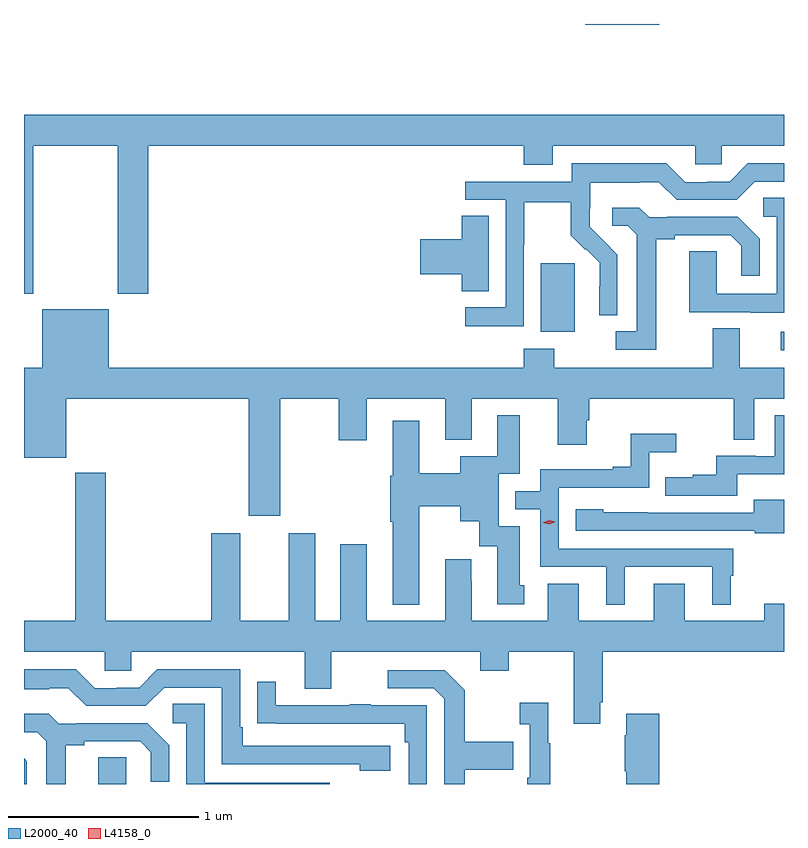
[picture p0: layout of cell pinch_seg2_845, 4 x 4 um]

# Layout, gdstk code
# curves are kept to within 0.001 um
import gdstk
lib = gdstk.Library(unit=1e-6, precision=1e-09)
def R(c, l, rs):  # rectangles x0, y0, x1, y1
    for r in rs: c.add(gdstk.rectangle(r[:2], r[2:], *l))
def P(c, l, *ps):  # polygons
    for p in ps: c.add(gdstk.Polygon(p, *l))
L2000_40 = (2000, 40)
L4158_0 = (4158, 0)

pinch_seg2_845 = lib.new_cell('pinch_seg2_845')
R(pinch_seg2_845, L2000_40, [(601.667,604.317,601.812,604.457), (605.259,606.6,605.275,606.696), (603.995,606.698,604.174,607.059), (604.23,608.314,604.618,608.317)])
P(pinch_seg2_845, L2000_40, [(601.323,607.676),(601.768,607.676),(601.768,606.897),(601.928,606.897),(601.928,607.676),(603.905,607.676),(603.905,607.577),(604.057,607.577),(604.057,607.676),(604.809,607.676),(604.809,607.578),(604.947,607.578),(604.947,607.676),(605.275,607.676),(605.275,607.84),(601.275,607.84),(601.275,606.897),(601.323,606.897)],
  [(603.906,607.156),(603.909,607.156),(603.909,607.38),(604.153,607.38),(604.153,607.205),(604.23,607.128),(604.233,607.131),(604.304,607.061),(604.304,606.938),(604.302,606.938),(604.302,606.784),(604.398,606.784),(604.398,607.102),(604.252,607.25),(604.252,607.347),(604.254,607.347),(604.254,607.481),(604.517,607.481),(604.517,607.485),(604.617,607.485),(604.71,607.392),(605.025,607.392),(605.121,607.488),(605.275,607.488),(605.275,607.584),(605.085,607.584),(604.989,607.488),(604.871,607.488),(604.871,607.485),(604.755,607.485),(604.655,607.585),(604.158,607.585),(604.158,607.488),(603.597,607.488),(603.597,607.392),(603.81,607.392),(603.81,606.825),(603.597,606.825),(603.597,606.727),(603.906,606.727)],
  [(605.275,607.403),(605.166,607.403),(605.166,607.302),(605.238,607.302),(605.238,606.897),(604.92,606.897),(604.92,607.121),(604.775,607.121),(604.775,606.801),(605.099,606.801),(605.099,606.797),(605.275,606.797)],
  [(604.603,607.184),(604.699,607.184),(604.699,607.206),(604.994,607.206),(605.051,607.149),(605.051,606.993),(605.148,606.993),(605.148,607.186),(605.032,607.302),(604.66,607.302),(604.66,607.299),(604.566,607.299),(604.514,607.351),(604.371,607.351),(604.371,607.254),(604.452,607.254),(604.499,607.207),(604.499,606.699),(604.389,606.699),(604.389,606.603),(604.603,606.603)],
  [(603.721,607.307),(603.578,607.307),(603.578,607.184),(603.36,607.184),(603.36,607.001),(603.578,607.001),(603.578,606.91),(603.721,606.91)],
  [(602.623,606.344),(602.932,606.344),(602.932,606.126),(603.079,606.126),(603.079,606.344),(603.491,606.344),(603.491,606.128),(603.631,606.128),(603.631,606.344),(604.085,606.344),(604.085,606.102),(604.237,606.102),(604.237,606.231),(604.25,606.231),(604.25,606.344),(605.01,606.344),(605.01,606.13),(605.118,606.13),(605.118,606.344),(605.275,606.344),(605.275,606.508),(605.041,606.508),(605.041,606.716),(604.901,606.716),(604.901,606.508),(604.065,606.508),(604.065,606.607),(603.905,606.607),(603.905,606.508),(601.72,606.508),(601.72,606.817),(601.37,606.817),(601.37,606.508),(601.275,606.508),(601.275,606.035),(601.498,606.035),(601.498,606.344),(602.459,606.344),(602.459,605.73),(602.623,605.73)],
  [(605.029,605.948),(605.275,605.948),(605.275,606.259),(605.226,606.259),(605.226,606.042),(605.126,606.042),(605.126,606.045),(604.919,606.045),(604.919,605.944),(604.795,605.944),(604.795,605.932),(604.651,605.932),(604.651,605.835),(605.029,605.835)],
  [(603.355,605.78),(603.572,605.78),(603.572,605.699),(603.671,605.699),(603.671,605.568),(603.767,605.568),(603.767,605.262),(603.907,605.262),(603.907,605.364),(603.883,605.364),(603.883,605.673),(603.774,605.673),(603.774,605.949),(603.883,605.949),(603.883,606.259),(603.767,606.259),(603.767,606.043),(603.572,606.043),(603.572,605.952),(603.355,605.952),(603.355,606.229),(603.215,606.229),(603.215,605.94),(603.203,605.94),(603.203,605.696),(603.215,605.696),(603.215,605.261),(603.355,605.261)],
  [(604.438,605.46),(604.898,605.46),(604.898,605.261),(604.996,605.261),(604.996,605.412),(605.008,605.412),(605.008,605.556),(604.089,605.556),(604.089,605.877),(604.566,605.877),(604.566,606.062),(604.708,606.062),(604.708,606.161),(604.468,606.161),(604.468,605.986),(604.373,605.986),(604.373,605.973),(603.993,605.973),(603.993,605.859),(603.86,605.859),(603.86,605.763),(603.993,605.763),(603.993,605.46),(604.34,605.46),(604.34,605.261),(604.438,605.261)],
  [(604.031,605.371),(604.031,605.176),(603.631,605.176),(603.631,605.387),(603.628,605.387),(603.628,605.5),(603.491,605.5),(603.491,605.176),(603.079,605.176),(603.079,605.578),(602.939,605.578),(602.939,605.176),(602.809,605.176),(602.809,605.638),(602.669,605.638),(602.669,605.176),(602.413,605.176),(602.413,605.638),(602.261,605.638),(602.261,605.176),(601.706,605.176),(601.706,605.956),(601.546,605.956),(601.546,605.176),(601.275,605.176),(601.275,605.012),(601.701,605.012),(601.701,604.914),(601.839,604.914),(601.839,605.012),(602.753,605.012),(602.753,604.818),(602.893,604.818),(602.893,605.012),(603.677,605.012),(603.677,604.913),(603.825,604.913),(603.825,605.012),(604.169,605.012),(604.169,604.635),(604.309,604.635),(604.309,604.747),(604.322,604.747),(604.322,605.012),(605.275,605.012),(605.275,605.267),(605.171,605.267),(605.171,605.176),(604.753,605.176),(604.753,605.371),(604.589,605.371),(604.589,605.176),(604.195,605.176),(604.195,605.371)],
  [(605.275,605.812),(605.117,605.812),(605.117,605.745),(604.559,605.745),(604.559,605.746),(604.323,605.746),(604.323,605.764),(604.179,605.764),(604.179,605.649),(605.121,605.649),(605.121,605.637),(605.275,605.637)],
  [(603.202,604.518),(602.425,604.518),(602.425,604.615),(602.412,604.615),(602.412,604.92),(601.977,604.92),(601.881,604.824),(601.763,604.824),(601.763,604.821),(601.647,604.821),(601.547,604.921),(601.275,604.921),(601.275,604.817),(601.409,604.817),(601.409,604.821),(601.509,604.821),(601.602,604.728),(601.917,604.728),(602.013,604.824),(602.316,604.824),(602.316,604.422),(603.041,604.422),(603.041,604.388),(603.202,604.388)],
  [(603.595,604.391),(603.851,604.391),(603.851,604.539),(603.595,604.539),(603.595,604.811),(603.489,604.917),(603.189,604.917),(603.189,604.821),(603.432,604.821),(603.486,604.767),(603.486,604.317),(603.595,604.317)],
  [(603.396,604.731),(603.101,604.731),(603.101,604.736),(602.989,604.736),(602.989,604.731),(602.599,604.731),(602.599,604.855),(602.503,604.855),(602.503,604.636),(602.605,604.636),(602.605,604.635),(603.28,604.635),(603.28,604.538),(603.3,604.538),(603.3,604.317),(603.396,604.317)],
  [(604.045,604.531),(604.033,604.531),(604.033,604.744),(603.885,604.744),(603.885,604.631),(603.936,604.631),(603.936,604.351),(603.924,604.351),(603.924,604.317),(604.045,604.317)],
  [(602.885,604.323),(602.226,604.323),(602.226,604.739),(602.058,604.739),(602.058,604.638),(602.13,604.638),(602.13,604.317),(602.885,604.317)],
  [(604.618,604.687),(604.445,604.687),(604.445,604.574),(604.438,604.574),(604.438,604.385),(604.445,604.385),(604.445,604.317),(604.618,604.317)],
  [(601.495,604.52),(601.591,604.52),(601.591,604.542),(601.886,604.542),(601.943,604.485),(601.943,604.329),(602.04,604.329),(602.04,604.522),(601.924,604.638),(601.552,604.638),(601.552,604.635),(601.458,604.635),(601.406,604.687),(601.275,604.687),(601.275,604.59),(601.344,604.59),(601.391,604.543),(601.391,604.317),(601.495,604.317)],
  [(601.29,604.438),(601.275,604.453),(601.275,604.317),(601.29,604.317)])
P(pinch_seg2_845, L4158_0, [(604.04,605.684),(604.004,605.691),(604.004,605.691),(604.004,605.691),(604.038,605.704),(604.073,605.697),(604.074,605.696),(604.073,605.696)])

lib.write_gds('pinch_seg2_845.gds')
